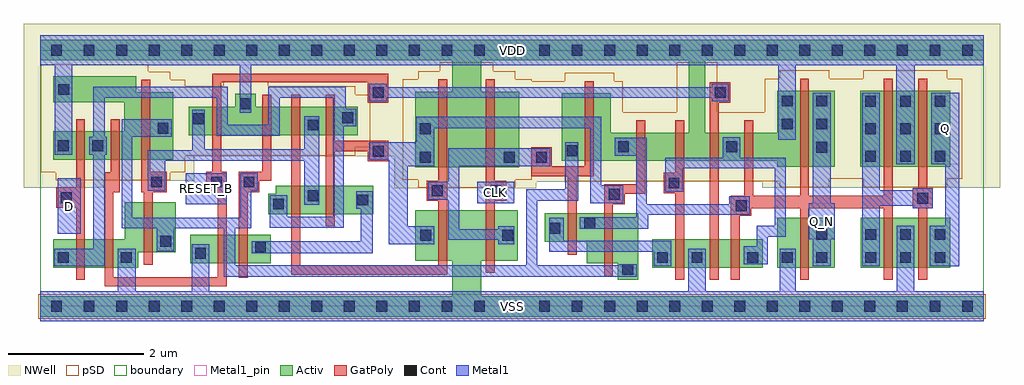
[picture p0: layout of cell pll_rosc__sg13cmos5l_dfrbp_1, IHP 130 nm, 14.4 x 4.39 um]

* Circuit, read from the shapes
.subckt pll_rosc__sg13cmos5l_dfrbp_1 CLK D Q Q_N RESET_B VDD VSS
XM1 n1 D n2 VSS sg13_lv_nmos w=0.42u l=0.13u
XM2 VSS RESET_B n1 VSS sg13_lv_nmos w=0.42u l=0.13u
XM3 n3 n4 VSS VSS sg13_lv_nmos w=0.74u l=0.13u
XM4 n5 RESET_B VSS VSS sg13_lv_nmos w=0.42u l=0.13u
XM5 n6 n3 n5 VSS sg13_lv_nmos w=0.42u l=0.13u
XM6 n4 n7 n2 VSS sg13_lv_nmos w=0.42u l=0.13u
XM7 n6 n8 n4 VSS sg13_lv_nmos w=0.42u l=0.13u
XM8 VSS n7 n8 VSS sg13_lv_nmos w=0.74u l=0.13u
XM9 n7 CLK VSS VSS sg13_lv_nmos w=0.74u l=0.13u
XM10 n9 n7 n10 VSS sg13_lv_nmos w=0.42u l=0.13u
XM11 n3 n8 n9 VSS sg13_lv_nmos w=0.74u l=0.13u
XM12 VSS n11 n10 VSS sg13_lv_nmos w=0.42u l=0.13u
XM13 n12 RESET_B VSS VSS sg13_lv_nmos w=0.42u l=0.13u
XM14 n11 n9 n12 VSS sg13_lv_nmos w=0.42u l=0.13u
XM15 Q_N n9 VSS VSS sg13_lv_nmos w=0.74u l=0.13u
XM16 VSS n9 n13 VSS sg13_lv_nmos w=0.74u l=0.13u
XM17 Q n13 VSS VSS sg13_lv_nmos w=0.74u l=0.13u
XM18 n2 D VDD VDD sg13_lv_pmos w=0.42u l=0.13u
XM19 VDD RESET_B n2 VDD sg13_lv_pmos w=0.42u l=0.13u
XM20 n3 n4 VDD VDD sg13_lv_pmos w=1u l=0.13u
XM21 VDD RESET_B n4 VDD sg13_lv_pmos w=0.42u l=0.13u
XM22 n14 n3 VDD VDD sg13_lv_pmos w=0.42u l=0.13u
XM23 n4 n7 n14 VDD sg13_lv_pmos w=0.42u l=0.13u
XM24 n2 n8 n4 VDD sg13_lv_pmos w=0.42u l=0.13u
XM25 VDD n7 n8 VDD sg13_lv_pmos w=1.12u l=0.13u
XM26 n7 CLK VDD VDD sg13_lv_pmos w=1.12u l=0.13u
XM27 n9 n7 n3 VDD sg13_lv_pmos w=1u l=0.13u
XM28 n15 n8 n9 VDD sg13_lv_pmos w=0.42u l=0.13u
XM29 VDD n11 n15 VDD sg13_lv_pmos w=0.42u l=0.13u
XM30 n11 RESET_B VDD VDD sg13_lv_pmos w=0.42u l=0.13u
XM31 VDD n9 n11 VDD sg13_lv_pmos w=0.42u l=0.13u
XM32 Q_N n9 VDD VDD sg13_lv_pmos w=1.12u l=0.13u
XM33 VDD n9 n13 VDD sg13_lv_pmos w=1.12u l=0.13u
XM34 Q n13 VDD VDD sg13_lv_pmos w=1.12u l=0.13u
.ends

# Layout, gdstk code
import gdstk
lib = gdstk.Library(unit=1e-6, precision=1e-09)
def R(c, l, rs):  # rectangles x0, y0, x1, y1
    for r in rs: c.add(gdstk.rectangle(r[:2], r[2:], *l))
def A(c, l, x, y, w, h, nx, ny, dx, dy):  # array of equal rectangles
    R(c, l, [(x+i*dx, y+j*dy, x+i*dx+w, y+j*dy+h) for i in range(nx) for j in range(ny)])
Activ = (1, 0)
GatPoly = (5, 0)
Cont = (6, 0)
Metal1 = (8, 0)
Metal1_pin = (8, 2)
pSD = (14, 0)
NWell = (31, 0)
boundary = (189, 4)

pll_rosc__sg13cmos5l_dfr = lib.new_cell('pll_rosc__sg13cmos5l_dfrbp_1')
R(pll_rosc__sg13cmos5l_dfr, Activ, [(0,-0.15,13.92,0.15), (6.075,0.15,6.505,0.675), (8.52,0.39,8.82,0.635), (0.19,0.57,1.445,0.795), (9.03,0.57,10.66,0.99), (10.87,0.57,11.725,1.31), (12.105,0.57,13.425,1.31), (2.215,0.635,3.4,1.055), (8.06,0.635,8.82,0.955), (5.535,0.675,7.045,1.415), (0.19,0.795,2,0.99), (7.445,0.955,8.82,1.375), (1.245,0.99,2,1.535), (3.365,1.36,4.91,1.66), (3.475,1.66,4.91,1.78), (5.53,2.05,7.07,3.17), (10.87,2.06,11.725,2.145), (12.1,2.06,13.425,3.18), (7.695,2.145,11.725,2.565), (0.19,2.16,1.96,2.58), (2.19,2.525,4.685,2.945), (7.695,2.565,8.415,3.145), (9.57,2.565,9.81,3.63), (10.87,2.565,11.725,3.18), (1.24,2.58,1.96,3.01), (2.88,2.945,3.18,3.14), (0.19,3.01,1.96,3.16), (0.19,3.16,1.415,3.395), (6.075,3.17,6.505,3.63), (0,3.63,13.92,3.93)])
R(pll_rosc__sg13cmos5l_dfr, GatPoly, [(0.95,0.295,2.75,0.43), (0.53,0.39,0.66,1.455), (9.37,0.39,9.5,1.67), (9.88,0.39,10.01,3.005), (10.19,0.39,10.32,1.335), (11.21,0.39,11.34,1.45), (12.445,0.39,12.575,1.45), (12.955,0.39,13.085,1.445), (2.93,0.425,3.06,1.685), (0.95,0.43,1.08,1.685), (2.62,0.43,2.75,1.685), (8.32,0.445,8.45,1.505), (3.705,0.465,6.005,0.605), (6.575,0.495,6.705,1.555), (3.705,0.605,3.835,3.125), (5.875,0.605,6.005,1.555), (1.53,0.615,1.66,1.685), (7.785,0.765,7.915,1.92), (4.215,1.18,4.345,2.29), (10.19,1.335,10.49,1.45), (12.87,1.445,13.17,1.745), (10.19,1.45,12.575,1.635), (0.235,1.455,0.66,1.755), (8.32,1.505,8.62,1.66), (5.705,1.555,6.005,1.855), (6.575,1.555,6.875,1.855), (10.39,1.635,10.52,2.745), (11.21,1.635,11.34,3.36), (12.445,1.635,12.575,3.36), (8.32,1.66,8.925,1.805), (9.2,1.67,9.5,1.97), (0.95,1.685,1.17,1.98), (1.49,1.685,1.865,1.985), (2.45,1.685,2.75,1.985), (2.93,1.685,3.23,1.855), (12.955,1.745,13.085,3.36), (0.53,1.755,0.66,2.76), (8.795,1.805,8.925,2.745), (2.93,1.855,3.405,1.985), (5.875,1.855,6.005,3.35), (6.575,1.855,6.705,3.35), (7.245,1.92,8.165,2.07), (9.37,1.97,9.5,2.745), (1.04,1.98,1.17,2.76), (1.49,1.985,1.62,3.34), (2.54,1.985,2.67,3.305), (3.275,1.985,3.405,3.125), (7.245,2.07,7.545,2.35), (8.035,2.07,8.165,3.325), (4.835,2.14,5.135,2.29), (4.215,2.29,5.135,2.44), (4.215,2.44,4.345,3.125), (4.835,3.005,5.135,3.305), (9.88,3.005,10.18,3.305), (2.54,3.305,5.135,3.435)])
A(pll_rosc__sg13cmos5l_dfr, Cont, 0.16, -0.08, 0.16, 0.16, 29, 2, 0.48, 3.78)
A(pll_rosc__sg13cmos5l_dfr, Cont, 10.43, 0.64, 0.16, 0.16, 3, 1, 0.51, 0)
A(pll_rosc__sg13cmos5l_dfr, Cont, 12.175, 0.64, 0.16, 0.16, 3, 2, 0.51, 0.34)
A(pll_rosc__sg13cmos5l_dfr, Cont, 12.17, 2.135, 0.16, 0.16, 1, 3, 0, 0.405)
A(pll_rosc__sg13cmos5l_dfr, Cont, 12.685, 2.135, 0.16, 0.16, 1, 3, 0, 0.405)
A(pll_rosc__sg13cmos5l_dfr, Cont, 13.195, 2.135, 0.16, 0.16, 1, 3, 0, 0.405)
A(pll_rosc__sg13cmos5l_dfr, Cont, 11.45, 2.27, 0.16, 0.16, 1, 3, 0, 0.34)
R(pll_rosc__sg13cmos5l_dfr, Cont, [(8.59,0.465,8.75,0.625), (0.26,0.64,0.42,0.8), (1.19,0.64,1.35,0.8), (9.1,0.64,9.26,0.8), (9.61,0.64,9.77,0.8), (2.285,0.705,2.445,0.865), (3.17,0.795,3.33,0.955), (1.77,0.88,1.93,1.04), (5.605,0.97,5.765,1.13), (6.815,0.97,6.975,1.13), (11.45,0.98,11.61,1.14), (7.515,1.075,7.675,1.235), (8.025,1.145,8.185,1.305), (10.26,1.405,10.42,1.565), (3.435,1.43,3.595,1.59), (4.68,1.49,4.84,1.65), (12.94,1.515,13.1,1.675), (0.305,1.525,0.465,1.685), (3.945,1.55,4.105,1.71), (8.39,1.575,8.55,1.735), (5.775,1.625,5.935,1.785), (6.645,1.625,6.805,1.785), (9.27,1.74,9.43,1.9), (1.635,1.755,1.795,1.915), (2.52,1.755,2.68,1.915), (3,1.755,3.16,1.915), (5.6,2.12,5.76,2.28), (6.84,2.12,7,2.28), (7.315,2.12,7.475,2.28), (4.905,2.21,5.065,2.37), (7.765,2.215,7.925,2.375), (8.525,2.275,8.685,2.435), (10.12,2.275,10.28,2.435), (0.26,2.29,0.42,2.45), (0.77,2.29,0.93,2.45), (5.6,2.54,5.76,2.7), (1.73,2.55,1.89,2.71), (3.945,2.595,4.105,2.755), (10.94,2.61,11.1,2.77), (2.26,2.69,2.42,2.85), (4.455,2.705,4.615,2.865), (2.95,2.91,3.11,3.07), (10.94,2.95,11.1,3.11), (4.905,3.075,5.065,3.235), (9.95,3.075,10.11,3.235), (0.265,3.12,0.425,3.28)])
R(pll_rosc__sg13cmos5l_dfr, Metal1, [(0,-0.22,13.92,0.22), (1.14,0.22,1.41,0.85), (2.235,0.22,2.495,0.915), (9.56,0.22,9.82,0.85), (10.91,0.22,11.15,0.85), (12.635,0.22,12.895,1.19), (2.705,0.44,8.8,0.605), (0.21,0.59,0.95,0.85), (9.05,0.59,9.31,0.805), (11.4,0.59,11.66,0.99), (12.125,0.59,12.385,1.485), (13.125,0.59,13.56,1.19), (2.705,0.605,2.875,1.15), (7.17,0.605,7.33,1.555), (8.54,0.605,8.8,0.625), (10.38,0.625,10.73,0.885), (3.12,0.785,4.905,0.96), (7.51,0.805,9.31,0.965), (1.72,0.815,1.98,1.15), (0.785,0.85,0.95,2.24), (10.57,0.885,10.73,1.03), (5.145,0.92,5.815,1.18), (6.755,0.92,6.99,0.98), (4.725,0.96,4.905,1.44), (7.51,0.965,7.725,1.31), (6.02,0.98,6.99,1.14), (11.34,0.99,11.725,1.52), (10.57,1.03,11,1.19), (0.255,1.07,0.6,1.89), (6.02,1.14,6.18,1.575), (6.755,1.14,6.99,1.18), (7.96,1.145,8.97,1.315), (1.2,1.15,3.11,1.31), (3.385,1.16,4.48,1.32), (5.145,1.18,5.42,2.07), (10.84,1.19,11,2.035), (13.35,1.19,13.56,2.095), (1.2,1.31,1.36,2.5), (2.95,1.31,3.11,1.705), (8.79,1.315,8.97,1.35), (3.385,1.32,3.645,1.64), (4.32,1.32,4.48,2.655), (8.79,1.35,10.47,1.51), (4.66,1.44,4.905,1.7), (12.87,1.445,13.17,1.485), (12.125,1.485,13.17,1.71), (3.895,1.5,4.115,2.145), (2.145,1.51,2.75,1.965), (8.79,1.51,8.95,2.225), (10.165,1.51,10.47,1.625), (6.45,1.52,6.99,1.84), (11.4,1.52,11.66,3.155), (8.115,1.525,8.6,1.785), (7.17,1.555,7.935,1.725), (5.725,1.575,6.18,1.835), (9.22,1.69,9.48,2.035), (1.585,1.705,1.845,2.145), (2.95,1.705,3.21,1.965), (12.125,1.71,12.385,3.155), (12.87,1.71,13.17,1.745), (7.745,1.725,7.935,2.425), (8.115,1.785,8.275,2.63), (6.02,1.835,6.18,2.07), (9.22,2.035,11,2.195), (5.145,2.07,5.81,2.16), (6.02,2.07,7.525,2.33), (13.145,2.095,13.56,3.155), (12.63,2.1,12.9,3.56), (1.585,2.145,4.115,2.305), (4.855,2.16,5.81,2.42), (10.07,2.195,10.33,2.495), (8.475,2.225,8.95,2.485), (0.215,2.24,0.475,3.56), (0.72,2.24,0.98,2.5), (2.245,2.305,4.115,2.315), (2.245,2.315,2.425,2.9), (3.895,2.315,4.115,2.805), (5.55,2.42,5.81,2.63), (10.89,2.46,11.15,3.56), (0.785,2.5,0.95,3.08), (1.2,2.5,1.94,2.76), (2.605,2.52,3.535,2.68), (5.55,2.63,8.275,2.8), (4.32,2.655,4.665,2.915), (2.605,2.68,2.765,3.08), (3.365,2.68,3.535,3.08), (2.945,2.86,3.115,3.56), (4.32,2.915,4.505,3.08), (4.855,3.025,5.115,3.075), (9.91,3.025,10.16,3.075), (4.855,3.075,10.16,3.235), (0.785,3.08,2.765,3.24), (3.365,3.08,4.505,3.24), (4.855,3.235,5.115,3.285), (9.91,3.235,10.16,3.285), (0,3.56,13.92,4)])
R(pll_rosc__sg13cmos5l_dfr, Metal1_pin, [(0,-0.22,13.92,0.22), (11.34,0.99,11.725,1.52), (0.255,1.07,0.6,1.89), (2.145,1.51,2.75,1.965), (6.45,1.52,6.99,1.84), (13.145,2.095,13.56,3.155), (0,3.56,13.92,4)])
R(pll_rosc__sg13cmos5l_dfr, pSD, [(-0.03,-0.18,13.95,0.18), (5.575,1.75,7.005,1.87), (10.91,1.76,11.64,1.845), (12.145,1.76,13.385,1.88), (7.735,1.845,11.64,1.88), (0.23,1.86,1.92,1.98), (5.35,1.87,7.25,1.965), (7.735,1.88,13.605,1.965), (5.35,1.965,13.605,2.865), (0.01,1.98,2.14,2.225), (0.01,2.225,4.645,2.345), (0.01,2.345,4.865,3.125), (5.35,2.865,8.595,3.325), (9.39,2.865,9.99,3.6), (10.69,2.865,13.605,3.36), (0.01,3.125,4.645,3.245), (0.01,3.245,2.14,3.34), (2.7,3.245,3.36,3.32), (5.35,3.325,7.25,3.35), (7.735,3.325,8.465,3.445), (0.01,3.34,1.92,3.46), (5.575,3.35,7.005,3.47), (10.91,3.36,11.64,3.48), (12.145,3.36,13.385,3.48), (0.01,3.46,1.595,3.575), (5.895,3.47,6.685,3.6)])
R(pll_rosc__sg13cmos5l_dfr, NWell, [(5.22,1.74,7.315,1.835), (-0.24,1.75,0.935,1.85), (10.655,1.75,14.16,1.835), (5.22,1.835,14.16,2.215), (-0.24,1.85,2.27,2.215), (-0.24,2.215,14.16,4.17)])
R(pll_rosc__sg13cmos5l_dfr, boundary, [(0,0,13.92,3.78)])
pll_rosc__sg13cmos5l_dfr.add(gdstk.Label('CLK', (6.72,1.68), layer=8, texttype=25))
pll_rosc__sg13cmos5l_dfr.add(gdstk.Label('VSS', (6.96,0), layer=8, texttype=25))
pll_rosc__sg13cmos5l_dfr.add(gdstk.Label('D', (0.427,1.48), layer=8, texttype=25))
pll_rosc__sg13cmos5l_dfr.add(gdstk.Label('Q_N', (11.532,1.255), layer=8, texttype=25))
pll_rosc__sg13cmos5l_dfr.add(gdstk.Label('Q', (13.352,2.625), layer=8, texttype=25))
pll_rosc__sg13cmos5l_dfr.add(gdstk.Label('RESET_B', (2.447,1.737), layer=8, texttype=25))
pll_rosc__sg13cmos5l_dfr.add(gdstk.Label('VDD', (6.96,3.78), layer=8, texttype=25))

lib.write_gds('pll_rosc__sg13cmos5l_dfrbp_1.gds')
